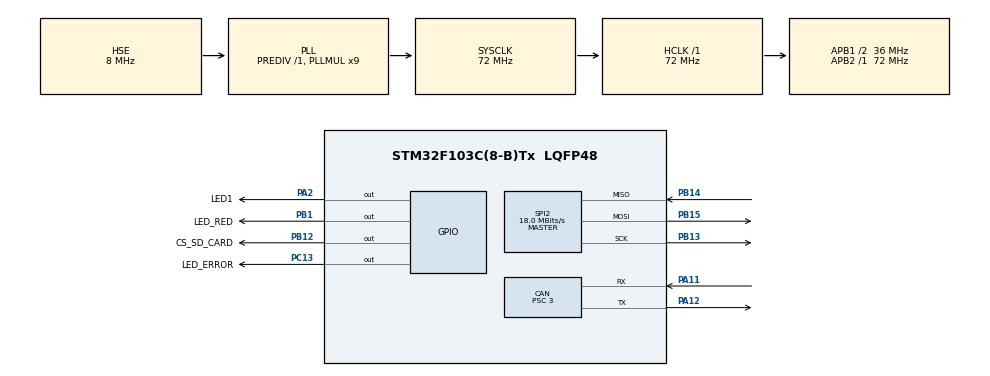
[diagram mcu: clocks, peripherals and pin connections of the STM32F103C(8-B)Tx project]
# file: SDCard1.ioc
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CAN.ABOM=ENABLE
CAN.BS1=CAN_BS1_5TQ
CAN.BS2=CAN_BS2_6TQ
CAN.CalculateTimeBit=1000
CAN.CalculateTimeQuantum=83.33333333333334
CAN.Prescaler=3
Mcu.Family=STM32F1
Mcu.Name=STM32F103C(8-B)Tx
Mcu.Package=LQFP48
NVIC.PriorityGroup=NVIC_PRIORITYGROUP_3
NVIC.TIM3_IRQn=true\:1\:1\:true\:false\:true\:true
NVIC.USB_LP_CAN1_RX0_IRQn=true\:0\:0\:false\:false\:true\:true
PA11.Mode=Master
PA11.Signal=CAN_RX
PA12.Mode=Master
PA12.Signal=CAN_TX
PA13.Mode=Serial_Wire
PA13.Signal=SYS_JTMS-SWDIO
PA14.Mode=Serial_Wire
PA14.Signal=SYS_JTCK-SWCLK
PA2.GPIO_Label=LED1
PA2.Signal=GPIO_Output
PB1.GPIO_Label=LED_RED
PB1.Signal=GPIO_Output
PB12.GPIO_Label=CS_SD_CARD
PB12.Signal=GPIO_Output
PB13.Mode=Full_Duplex_Master
PB13.Signal=SPI2_SCK
PB14.Mode=Full_Duplex_Master
PB14.Signal=SPI2_MISO
PB15.Mode=Full_Duplex_Master
PB15.Signal=SPI2_MOSI
PC13-TAMPER-RTC.GPIO_Label=LED_ERROR
PC13-TAMPER-RTC.Signal=GPIO_Output
PD0-OSC_IN.Mode=HSE-External-Oscillator
PD0-OSC_IN.Signal=RCC_OSC_IN
PD1-OSC_OUT.Mode=HSE-External-Oscillator
PD1-OSC_OUT.Signal=RCC_OSC_OUT
ProjectManager.HeapSize=0x200
ProjectManager.StackSize=0x400
ProjectManager.TargetToolchain=SW4STM32
RCC.AHBFreq_Value=72000000
RCC.APB1CLKDivider=RCC_HCLK_DIV2
RCC.APB1Freq_Value=36000000
RCC.APB1TimFreq_Value=72000000
RCC.APB2Freq_Value=72000000
RCC.APB2TimFreq_Value=72000000
RCC.HCLKFreq_Value=72000000
RCC.PLLMUL=RCC_PLL_MUL9
RCC.PLLSourceVirtual=RCC_PLLSOURCE_HSE
RCC.SYSCLKFreq_VALUE=72000000
RCC.SYSCLKSource=RCC_SYSCLKSOURCE_PLLCLK
RCC.USBFreq_Value=72000000
SPI2.CalculateBaudRate=18.0 MBits/s
SPI2.Direction=SPI_DIRECTION_2LINES
SPI2.Mode=SPI_MODE_MASTER
SPI2.VirtualType=VM_MASTER
TIM3.Period=1999
TIM3.Prescaler=35999
VP_FATFS_VS_Generic.Mode=User_defined
VP_TIM3_VS_ClockSourceINT.Mode=Internal
board=custom

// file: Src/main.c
/**
  ******************************************************************************
  * @file           : main.c
  * @brief          : Main program body
  ******************************************************************************
  * This notice applies to any and all portions of this file
  * that are not between comment pairs USER CODE BEGIN and
  * USER CODE END. Other portions of this file, whether
  * inserted by the user or by software development tools
  * are owned by their respective copyright owners.
  *
  * Copyright (c) 2019 STMicroelectronics International N.V.
  * All rights reserved.
  *
  * Redistribution and use in source and binary forms, with or without
  * modification, are permitted, provided that the following conditions are met:
  *
  * 1. Redistribution of source code must retain the above copyright notice,
  *    this list of conditions and the following disclaimer.
  * 2. Redistributions in binary form must reproduce the above copyright notice,
  *    this list of conditions and the following disclaimer in the documentation
  *    and/or other materials provided with the distribution.
  * 3. Neither the name of STMicroelectronics nor the names of other
  *    contributors to this software may be used to endorse or promote products
  *    derived from this software without specific written permission.
  * 4. This software, including modifications and/or derivative works of this
  *    software, must execute solely and exclusively on microcontroller or
  *    microprocessor devices manufactured by or for STMicroelectronics.
  * 5. Redistribution and use of this software other than as permitted under
  *    this license is void and will automatically terminate your rights under
  *    this license.
  *
  * THIS SOFTWARE IS PROVIDED BY STMICROELECTRONICS AND CONTRIBUTORS "AS IS"
  * AND ANY EXPRESS, IMPLIED OR STATUTORY WARRANTIES, INCLUDING, BUT NOT
  * LIMITED TO, THE IMPLIED WARRANTIES OF MERCHANTABILITY, FITNESS FOR A
  * PARTICULAR PURPOSE AND NON-INFRINGEMENT OF THIRD PARTY INTELLECTUAL PROPERTY
  * RIGHTS ARE DISCLAIMED TO THE FULLEST EXTENT PERMITTED BY LAW. IN NO EVENT
  * SHALL STMICROELECTRONICS OR CONTRIBUTORS BE LIABLE FOR ANY DIRECT, INDIRECT,
  * INCIDENTAL, SPECIAL, EXEMPLARY, OR CONSEQUENTIAL DAMAGES (INCLUDING, BUT NOT
  * LIMITED TO, PROCUREMENT OF SUBSTITUTE GOODS OR SERVICES; LOSS OF USE, DATA,
  * OR PROFITS; OR BUSINESS INTERRUPTION) HOWEVER CAUSED AND ON ANY THEORY OF
  * LIABILITY, WHETHER IN CONTRACT, STRICT LIABILITY, OR TORT (INCLUDING
  * NEGLIGENCE OR OTHERWISE) ARISING IN ANY WAY OUT OF THE USE OF THIS SOFTWARE,
  * EVEN IF ADVISED OF THE POSSIBILITY OF SUCH DAMAGE.
  *
  ******************************************************************************
  */
#include "main.h"
#include "stm32f1xx_hal.h"
#include "fatfs.h"

CAN_HandleTypeDef hcan;

SPI_HandleTypeDef hspi2;

TIM_HandleTypeDef htim3;

/* USER CODE BEGIN PV */
/* Private variables ---------------------------------------------------------*/

/* Define endereços dos dados (measureID) de acordo com o protocolo FTCAN2.0*/
#define TPS_ADDR 0x0002
#define RPM_ADDR 0x0084
#define BAT_V_ADDR 0x0012
#define TPM_MOT_ADDR 0x0008
#define OILP_ADDR 0x000A
#define SPEEDFR_ADDR 0x001A
#define FUELP_ADDR 0x000C
#define MAP_ADDR 0x0004
#define DRSFRPM 0x0020

//#define TEST_CAN 1
/*Variaveis para gravação de dados*/
char buffer[512];
static FATFS g_sFatFs;
FRESULT fresult;
FIL file;
int len;
UINT bytes_written;

/* Define endereços das temperaturas do Freio*/

/*Variaveis globais dos dados*/
uint16_t RPM = 0,  SPEEDFR = 0, TIMERCOUNT=0, POSVOL = 0, PFREIOT = 0, PFREIOD =0, TEMPPDU = 0,TPS, ECT, BAT, OILP,FUELP, CORRENTE=0, SUSP = 0,TEMPBREAK_1=0, TEMPBREAK_2=0;
float  MAP;
uint8_t BOMBA, VENT, SPARKC, BEACON = 0;

CanTxMsgTypeDef TxTemp;
CanTxMsgTypeDef TxSpeed;
CanTxMsgTypeDef adc1;

/* UART */
char tx_buffer[100];
char tx_buffer2[80];
char tx_buffer3[80];
char tx_buffer4[100];
uint8_t pack3_cnt = 0, pack2_cnt = 0, PACKNO;

uint8_t buff1[15], buff2[18], buff3[13] ,buff4[28];

/*I2c acelerometro*/
//SD_MPU6050 mpu1;
char acel_result[100];
int16_t g_x, g_y, g_z, a_x, a_y, a_z;

/* Recepcao de pacotes CAN */
uint32_t canID =0, callbackCnt = 0;
uint8_t  datafieldID;
uint16_t payloadLength, payloadCnt = 0;
uint8_t segPackNo = 0;
uint8_t payloadData[80];
uint8_t canData[8];

/* ADC */
uint32_t adc_buffer[600], ADC[6]= {0,0,0,0,0,0};
uint32_t cont = 0;

/* Extensometros */
uint8_t dados_ext[8], RECEIVED_ETX = 0;
uint8_t EXT_ARRAY[8];
unsigned long EXT_DATA[8] = {0,0,0,0,0,0,0,0};
uint8_t CANTX = 0, CANRX = 0;

/*  vent = B4
  bomba = A15
beacon = a8
sensor de corrente = b0
 */

/* USER CODE END PV */

void SystemClock_Config(void);
static void MX_GPIO_Init(void);
static void MX_SPI2_Init(void);
static void MX_TIM3_Init(void);
static void MX_CAN_Init(void);

/* USER CODE BEGIN PFP */
/* Private function prototypes -----------------------------------------------*/
static void CAN_Config(void);
void getMeasure(uint8_t address, uint16_t value);
void writeFile();
/* USER CODE END PFP */

int main(void)
{

  /* MCU Configuration----------------------------------------------------------*/

  /* Reset of all peripherals, Initializes the Flash interface and the Systick. */
  HAL_Init();

  /* Configure the system clock */
  SystemClock_Config();

  /* Initialize all configured peripherals */
  MX_GPIO_Init();
  MX_SPI2_Init();
  MX_FATFS_Init();
  MX_TIM3_Init();
  MX_CAN_Init();
  /* USER CODE BEGIN 2 */

    //Delay para esperar FT500 estabelecer comunicacao com WB-O2
    HAL_Delay(4000);

    CAN_Config();

  	if (HAL_CAN_Receive_IT(&hcan, CAN_FIFO0) != HAL_OK)
  	{
  	  // Reception Error
  	  Error_Handler();
  	}

    // Sinaliza para timer começar a contagem
    HAL_TIM_Base_Start_IT(&htim3);

    //LED C13 pisca para sinalizar que o progrma começou
    HAL_GPIO_WritePin(GPIOC, GPIO_PIN_13, GPIO_PIN_RESET);
    HAL_Delay(500);
    HAL_GPIO_WritePin(GPIOC, GPIO_PIN_13, GPIO_PIN_SET);
    HAL_Delay(500);
    HAL_GPIO_WritePin(GPIOC, GPIO_PIN_13, GPIO_PIN_RESET);
    HAL_Delay(500);

/*
    //-------------SD DEMO START-----------------
        char buffer[512];
        static FATFS g_sFatFs;
        FRESULT fresult;
        FIL file;
        int len;
        UINT bytes_written;
        HAL_GPIO_WritePin(LED_RED_GPIO_Port, LED_RED_Pin, GPIO_PIN_SET);
        fresult = f_mount(&g_sFatFs, "0:", 0);        //mount SD card
        fresult = f_open(&file, "Formula.txt", FA_OPEN_ALWAYS | FA_WRITE); //open file on SD card
        fresult = f_lseek(&file, file.fsize);         //go to the end of the file
        len = sprintf(buffer, "Jesus!\r\n Ao que parece deu certo\r\n");    //generate some string
        fresult = f_write(&file, buffer, len, &bytes_written);     //write data to the file
        fresult = f_close(&file);
        HAL_GPIO_WritePin(LED_RED_GPIO_Port, LED_RED_Pin, GPIO_PIN_RESET);
    //-------------SD DEMO END-----------------
*/
  /* USER CODE END 2 */

  /* Infinite loop */
  while (1)
  {

  /* USER CODE BEGIN 3 */
	 // HAL_GPIO_WritePin(LED1_GPIO_Port, LED1_Pin, GPIO_PIN_RESET);

  }
  /* USER CODE END 3 */

}

void SystemClock_Config(void)
{

  RCC_OscInitTypeDef RCC_OscInitStruct;
  RCC_ClkInitTypeDef RCC_ClkInitStruct;

    /**Initializes the CPU, AHB and APB busses clocks
    */
  RCC_OscInitStruct.OscillatorType = RCC_OSCILLATORTYPE_HSE;
  RCC_OscInitStruct.HSEState = RCC_HSE_ON;
  RCC_OscInitStruct.HSEPredivValue = RCC_HSE_PREDIV_DIV1;
  RCC_OscInitStruct.HSIState = RCC_HSI_ON;
  RCC_OscInitStruct.PLL.PLLState = RCC_PLL_ON;
  RCC_OscInitStruct.PLL.PLLSource = RCC_PLLSOURCE_HSE;
  RCC_OscInitStruct.PLL.PLLMUL = RCC_PLL_MUL9;
  if (HAL_RCC_OscConfig(&RCC_OscInitStruct) != HAL_OK)
  {
    _Error_Handler(__FILE__, __LINE__);
  }

    /**Initializes the CPU, AHB and APB busses clocks
    */
  RCC_ClkInitStruct.ClockType = RCC_CLOCKTYPE_HCLK|RCC_CLOCKTYPE_SYSCLK
                              |RCC_CLOCKTYPE_PCLK1|RCC_CLOCKTYPE_PCLK2;
  RCC_ClkInitStruct.SYSCLKSource = RCC_SYSCLKSOURCE_PLLCLK;
  RCC_ClkInitStruct.AHBCLKDivider = RCC_SYSCLK_DIV1;
  RCC_ClkInitStruct.APB1CLKDivider = RCC_HCLK_DIV2;
  RCC_ClkInitStruct.APB2CLKDivider = RCC_HCLK_DIV1;

  if (HAL_RCC_ClockConfig(&RCC_ClkInitStruct, FLASH_LATENCY_2) != HAL_OK)
  {
    _Error_Handler(__FILE__, __LINE__);
  }

    /**Configure the Systick interrupt time
    */
  HAL_SYSTICK_Config(HAL_RCC_GetHCLKFreq()/1000);

    /**Configure the Systick
    */
  HAL_SYSTICK_CLKSourceConfig(SYSTICK_CLKSOURCE_HCLK);

  /* SysTick_IRQn interrupt configuration */
  HAL_NVIC_SetPriority(SysTick_IRQn, 0, 0);
}

/* CAN init function */
static void MX_CAN_Init(void)
{

  hcan.Instance = CAN1;
  hcan.Init.Prescaler = 3;
  hcan.Init.Mode = CAN_MODE_NORMAL;
  hcan.Init.SJW = CAN_SJW_1TQ;
  hcan.Init.BS1 = CAN_BS1_5TQ;
  hcan.Init.BS2 = CAN_BS2_6TQ;
  hcan.Init.TTCM = DISABLE;
  hcan.Init.ABOM = ENABLE;
  hcan.Init.AWUM = DISABLE;
  hcan.Init.NART = DISABLE;
  hcan.Init.RFLM = DISABLE;
  hcan.Init.TXFP = DISABLE;
  if (HAL_CAN_Init(&hcan) != HAL_OK)
  {
    _Error_Handler(__FILE__, __LINE__);
  }

}

/* SPI2 init function */
static void MX_SPI2_Init(void)
{

  /* SPI2 parameter configuration*/
  hspi2.Instance = SPI2;
  hspi2.Init.Mode = SPI_MODE_MASTER;
  hspi2.Init.Direction = SPI_DIRECTION_2LINES;
  hspi2.Init.DataSize = SPI_DATASIZE_8BIT;
  hspi2.Init.CLKPolarity = SPI_POLARITY_LOW;
  hspi2.Init.CLKPhase = SPI_PHASE_1EDGE;
  hspi2.Init.NSS = SPI_NSS_SOFT;
  hspi2.Init.BaudRatePrescaler = SPI_BAUDRATEPRESCALER_2;
  hspi2.Init.FirstBit = SPI_FIRSTBIT_MSB;
  hspi2.Init.TIMode = SPI_TIMODE_DISABLE;
  hspi2.Init.CRCCalculation = SPI_CRCCALCULATION_DISABLE;
  hspi2.Init.CRCPolynomial = 10;
  if (HAL_SPI_Init(&hspi2) != HAL_OK)
  {
    _Error_Handler(__FILE__, __LINE__);
  }

}

/* TIM3 init function */
static void MX_TIM3_Init(void)
{

  TIM_ClockConfigTypeDef sClockSourceConfig;
  TIM_MasterConfigTypeDef sMasterConfig;

  htim3.Instance = TIM3;
  htim3.Init.Prescaler = 35999;
  htim3.Init.CounterMode = TIM_COUNTERMODE_UP;
  htim3.Init.Period = 1999;
  htim3.Init.ClockDivision = TIM_CLOCKDIVISION_DIV1;
  htim3.Init.AutoReloadPreload = TIM_AUTORELOAD_PRELOAD_DISABLE;
  if (HAL_TIM_Base_Init(&htim3) != HAL_OK)
  {
    _Error_Handler(__FILE__, __LINE__);
  }

  sClockSourceConfig.ClockSource = TIM_CLOCKSOURCE_INTERNAL;
  if (HAL_TIM_ConfigClockSource(&htim3, &sClockSourceConfig) != HAL_OK)
  {
    _Error_Handler(__FILE__, __LINE__);
  }

  sMasterConfig.MasterOutputTrigger = TIM_TRGO_RESET;
  sMasterConfig.MasterSlaveMode = TIM_MASTERSLAVEMODE_DISABLE;
  if (HAL_TIMEx_MasterConfigSynchronization(&htim3, &sMasterConfig) != HAL_OK)
  {
    _Error_Handler(__FILE__, __LINE__);
  }

}

/** Configure pins as
        * Analog
        * Input
        * Output
        * EVENT_OUT
        * EXTI
*/
static void MX_GPIO_Init(void)
{

  GPIO_InitTypeDef GPIO_InitStruct;

  /* GPIO Ports Clock Enable */
  __HAL_RCC_GPIOC_CLK_ENABLE();
  __HAL_RCC_GPIOD_CLK_ENABLE();
  __HAL_RCC_GPIOA_CLK_ENABLE();
  __HAL_RCC_GPIOB_CLK_ENABLE();

  /*Configure GPIO pin Output Level */
  HAL_GPIO_WritePin(LED_ERROR_GPIO_Port, LED_ERROR_Pin, GPIO_PIN_RESET);

  /*Configure GPIO pin Output Level */
  HAL_GPIO_WritePin(LED1_GPIO_Port, LED1_Pin, GPIO_PIN_RESET);

  /*Configure GPIO pin Output Level */
  HAL_GPIO_WritePin(GPIOB, LED_RED_Pin|CS_SD_CARD_Pin, GPIO_PIN_RESET);

  /*Configure GPIO pin : LED_ERROR_Pin */
  GPIO_InitStruct.Pin = LED_ERROR_Pin;
  GPIO_InitStruct.Mode = GPIO_MODE_OUTPUT_PP;
  GPIO_InitStruct.Pull = GPIO_NOPULL;
  GPIO_InitStruct.Speed = GPIO_SPEED_FREQ_LOW;
  HAL_GPIO_Init(LED_ERROR_GPIO_Port, &GPIO_InitStruct);

  /*Configure GPIO pin : LED1_Pin */
  GPIO_InitStruct.Pin = LED1_Pin;
  GPIO_InitStruct.Mode = GPIO_MODE_OUTPUT_PP;
  GPIO_InitStruct.Pull = GPIO_NOPULL;
  GPIO_InitStruct.Speed = GPIO_SPEED_FREQ_LOW;
  HAL_GPIO_Init(LED1_GPIO_Port, &GPIO_InitStruct);

  /*Configure GPIO pins : LED_RED_Pin CS_SD_CARD_Pin */
  GPIO_InitStruct.Pin = LED_RED_Pin|CS_SD_CARD_Pin;
  GPIO_InitStruct.Mode = GPIO_MODE_OUTPUT_PP;
  GPIO_InitStruct.Pull = GPIO_NOPULL;
  GPIO_InitStruct.Speed = GPIO_SPEED_FREQ_LOW;
  HAL_GPIO_Init(GPIOB, &GPIO_InitStruct);

}

/* USER CODE BEGIN 4 */

static void CAN_Config(void){

  CAN_FilterConfTypeDef  sFilterConfig;
  static CanTxMsgTypeDef        TxMessage;     //--
  static CanRxMsgTypeDef        RxMessage;     //-- codigo original

  /*##-1- Configure the CAN peripheral #######################################*/
   hcan.pTxMsg = &TxMessage;     //-- codigo original
   hcan.pRxMsg = &RxMessage;	  //--

  /*##-2- Configure the CAN Filter ###########################################*/
  sFilterConfig.FilterNumber = 0;
  sFilterConfig.FilterMode = CAN_FILTERMODE_IDMASK;
  sFilterConfig.FilterScale = CAN_FILTERSCALE_32BIT;
  sFilterConfig.FilterIdHigh = 0x0000;
  sFilterConfig.FilterIdLow = 0x0000;
  sFilterConfig.FilterMaskIdHigh = 0x0000;
  sFilterConfig.FilterMaskIdLow = 0x0000;
  sFilterConfig.FilterFIFOAssignment = 0;
  sFilterConfig.FilterActivation = ENABLE;
  sFilterConfig.BankNumber = 14;

  if (HAL_CAN_ConfigFilter(&hcan, &sFilterConfig) != HAL_OK)
  {
    /* Filter configuration Error */
    Error_Handler();
  }

  /*##-3- Configure Transmission process #####################################*/
  hcan.pTxMsg->StdId = 0x001;
  hcan.pTxMsg->ExtId = 0x001;
  hcan.pTxMsg->RTR = CAN_RTR_DATA;
  /*configurando como extended id (29 bits)*/
  hcan.pTxMsg->IDE = CAN_ID_EXT;
  hcan.pTxMsg->DLC = 2;
}

#ifdef TEST_CAN

void HAL_CAN_RxCpltCallback(CAN_HandleTypeDef *hcan){

	//CANRX = 1;

	uint8_t i, dataLength;

	/*Identificação da mensagem enviada pela FT*/
		if(((hcan->pRxMsg->ExtId) >> 19) == 0x280){
			HAL_GPIO_TogglePin(LED1_GPIO_Port, LED1_Pin);

		}

	/* Armazena a quantidade de bytes do frame na variavel dataLength e a ID em canID */
	dataLength = hcan->pRxMsg->DLC;
	canID = hcan->pRxMsg->ExtId;

	/* Armazena dados recebidos em array canData*/
	for (i=0;i<dataLength;i++){
		canData[i] = hcan->pRxMsg->Data[i];
	}

	/*Se o ProductID for relativo a FT500 (0x280)*/
   if ((((hcan->pRxMsg->ExtId) >> 19) == 0x280) && (hcan->pRxMsg->IDE == CAN_ID_EXT)){

	HAL_GPIO_TogglePin(LED1_GPIO_Port, LED1_Pin);
	//HAL_GPIO_WritePin(LED1_GPIO_Port, LED1_Pin, GPIO_PIN_SET);

	datafieldID = (canID>>11)& 0x7;

		//writeFile();

		if (datafieldID != 0x2){
			//while(1){}
		}

		/* Testa se pacote é do tipo Single Packet*/
		if (canData[0] == 0xff){
		}

		/* Testa se pacote é do tipo segmented packet */
		/* Testa se é o primeiro pacote do segmented packet (valor 0 no primeiro byte)*/
		if (canData[0] == 0){

			/* Zera variável que conta o indice da payload */
			payloadCnt = 0;

			/* Seta segPackNo como 1, indicando que o proximo pacote a ser recebido tem valor do primeiro byte como 1 */
			segPackNo = 1;

			/* Armazena tamanho da payload na variavel payloadLength. Tamanho da payload sao o segundo e
			 * terceiros bytes do primeiro pacote */
			payloadLength = ((canData[1] & 0x7) << 8) | canData[2];

			/* Nos 5 bytes restantes, armazena payload no array */
			for (i=3;i<dataLength;i++){
				payloadData[payloadCnt] = canData[i];
				payloadCnt++;
			}
		}

		/* Caso o pacote tenha o primeiro byte diferente de 0 */
		else{
			/* Caso seja o pacote com o número certo */
			if(canData[0] == segPackNo){
				segPackNo++;
				/* Armazena os dados recebidos na variavel payloadData, começando do byte 1 e indo até o ultimo byte recebido*/
				for (i=1;i<dataLength;i++){
					payloadData[payloadCnt] = canData[i];

					/*Dados sao enviados de 4 em 4 bytes, sendo os 2 primeiro relativos ao endereço especifico de cada um
					  e os 2 ultimos o dado
					  Faz divisao por 4 e pega o resto.
					*/
					if(payloadCnt % 4 == 3){
						uint8_t add = payloadData[payloadCnt-2];
						/*Junta os 2 bytes correspondentes ao valor do dado*/
						uint16_t value = (payloadData[payloadCnt-1]<<8)|payloadData[payloadCnt];
						getMeasure(add, value);
					}

					/* Chegou no final da payload */
					if((payloadCnt == payloadLength-1)){
						writeFile();
						break;
					}

					payloadCnt++;
				}
			}
		}
	  }

	/* Receive */
	if (HAL_CAN_Receive_IT(hcan, CAN_FIFO0) != HAL_OK)
	{
		/* Reception Error */
		HAL_GPIO_TogglePin(GPIOA, GPIO_PIN_0);
		Error_Handler();
	}
}

#endif

void HAL_CAN_RxCpltCallback(CAN_HandleTypeDef *hcan)
{

	CANRX = 1;

	/* LED 13 muda de estado toda vez que é chamada a funcão callback, ou seja, toda vez que recebe um pacote CAN */
	HAL_GPIO_TogglePin(GPIOC, GPIO_PIN_13);
	HAL_GPIO_TogglePin(LED1_GPIO_Port, LED1_Pin);

	uint8_t i, dataLength;

	/* Armazena a quantidade de bytes do frame na variavel dataLength e a ID em canID */
	dataLength = hcan->pRxMsg->DLC;
	canID = hcan->pRxMsg->ExtId;

	/* Armazena dados recebidos em array canData*/
	for (i=0;i<dataLength;i++){
		canData[i] = hcan->pRxMsg->Data[i];
	}

	/*Se o ProductID for relativo a FT500 (0x280)*/
   if ((((hcan->pRxMsg->ExtId) >> 19) == 0x280) && (hcan->pRxMsg->IDE == CAN_ID_EXT)){

	datafieldID = (canID>>11)& 0x7;

	if (datafieldID != 0x2){
		//while(1){}
	}

	/* Testa se pacote é do tipo Single Packet*/
	if (canData[0] == 0xff){
	}

	/* Testa se pacote é do tipo segmented packet */
	/* Testa se é o primeiro pacote do segmented packet (valor 0 no primeiro byte)*/
	if ( canData[0] == 0){

		/* Zera variável que conta o indice da payload */
		payloadCnt = 0;

		/* Seta segPackNo como 1, indicando que o proximo pacote a ser recebido tem valor do primeiro byte como 1 */
		segPackNo = 1;

		/* Armazena tamanho da payload na variavel payloadLength. Tamanho da payload sao o segundo e
		 * terceiros bytes do primeiro pacote */
		payloadLength = ((canData[1] & 0x7) << 8) | canData[2];

		/* Nos 5 bytes restantes, armazena payload no array */
		for (i=3;i<dataLength;i++){
			payloadData[payloadCnt] = canData[i];
			payloadCnt++;
		}
	}

	/* Caso o pacote tenha o primeiro byte diferente de 0 */
	else{
		/* Caso seja o pacote com o número certo */
		if(canData[0] == segPackNo){
			segPackNo++;
			/* Armazena os dados recebidos na variavel payloadData, começando do byte 1 e indo até o ultimo byte recebido*/
			for (i=1;i<dataLength;i++){
				payloadData[payloadCnt] = canData[i];

				/*Dados sao enviados de 4 em 4 bytes, sendo os 2 primeiro relativos ao endereço especifico de cada um
				  e os 2 ultimos o dado
				  Faz divisao por 4 e pega o resto.
				*/
				if(payloadCnt % 4 == 3){
					uint8_t add = payloadData[payloadCnt-2];

					/*Junta os 2 bytes correspondentes ao valor do dado*/
					uint16_t value = (payloadData[payloadCnt-1]<<8)|payloadData[payloadCnt];

					getMeasure(add, value);
				}

				/* Chegou no final da payload */
				if((payloadCnt == payloadLength-1)){
					break;
				}

				payloadCnt++;
			}
		}
	}
  }

  callbackCnt++; //Contador de quantos callbacks foram chamados

  /* Chama funcao para receber novo pacote */
  if (HAL_CAN_Receive_IT(hcan, CAN_FIFO0) != HAL_OK)
  {
    Error_Handler();
  }
  CANRX = 0;

}

/* Recebe endereço do measureID do dado recebido pelo barramento e seu valor e atualiza a variavel global correspondente*/
void getMeasure(uint8_t address, uint16_t value){

	switch(address){
	case TPS_ADDR:
		//TPS = value*0.1;
		TPS = value;
		break;
	case RPM_ADDR:
		RPM = value;
		break;
	case  OILP_ADDR:
		//OILP = 0.001*value;
		OILP = value;
		break;
	case  MAP_ADDR:
		MAP = 0.001*value;
		break;
	case  FUELP_ADDR:
//		FUELP = 0.001*value;
		FUELP = value;
		break;
	case SPEEDFR_ADDR:
		SPEEDFR = value;
		break;
	case BAT_V_ADDR:
//		BAT = 0.01*value;
		BAT = value;
		break;
	case TPM_MOT_ADDR:
		//ECT = 0.1*value;
		ECT = value;
		break;
	case DRSFRPM:
		RPM = value;
		break;
	default:
		break;
	}

}

/*
 *  Função para o arquivo.
 */
void writeFile(){

	/* Writing a File*/
	HAL_GPIO_WritePin(LED_RED_GPIO_Port, LED_RED_Pin, GPIO_PIN_SET);

	/* Mount SD card */
	if(f_mount(&g_sFatFs, "0:", 0) != FR_OK){
		/* Mount Error */
		Error_Handler();
	}

	/* Open file on SD card */
	if(f_open(&file, "CANTest.txt", FA_OPEN_ALWAYS | FA_WRITE) != FR_OK){
		/* Open File Error */
		Error_Handler();
	}

	/*Go to the end of the file*/
	if(f_lseek(&file, file.fsize) != FR_OK){
		/* Open File Error */
		Error_Handler();
	}

	//len = sprintf(buffer, "Jesus!\r\n Ao que parece deu certo\r\n");    //generate some string
	len = sprintf(buffer, "\t%d\t%d\t%d\t%d\t%d\t%d\t%d\t%d\r\n", TPS, RPM, OILP, MAP, FUELP, SPEEDFR, BAT, ECT);    //generate some string

	/*Write data to the file*/
	if(f_write(&file, buffer, len, &bytes_written)){
		/* Write data Error */
		Error_Handler();
	}

	/* Close file on SD card */
	if(f_close(&file) != FR_OK){
		/* Close file Error */
		Error_Handler();
	}

	HAL_GPIO_WritePin(LED_RED_GPIO_Port, LED_RED_Pin, GPIO_PIN_RESET);
}

void HAL_TIM_PeriodElapsedCallback(TIM_HandleTypeDef *htim){
	writeFile();
}

/* USER CODE END 4 */

void _Error_Handler(char *file, int line)
{
  /* USER CODE BEGIN Error_Handler_Debug */

	  HAL_GPIO_WritePin(LED_ERROR_GPIO_Port, LED_ERROR_Pin, GPIO_PIN_SET);

  /* User can add his own implementation to report the HAL error return state */
  while(1)
  {
	  printf("Wrong parameters value: file %s on line %d\r\n", file, line);
	  HAL_GPIO_WritePin(GPIOC, GPIO_PIN_13, GPIO_PIN_SET);
	  HAL_Delay(500);
	  HAL_GPIO_WritePin(GPIOC, GPIO_PIN_13, GPIO_PIN_RESET);
	  HAL_Delay(500);
	  break;
  }
  /* USER CODE END Error_Handler_Debug */
}

/************************ (C) COPYRIGHT STMicroelectronics *****END OF FILE****/
